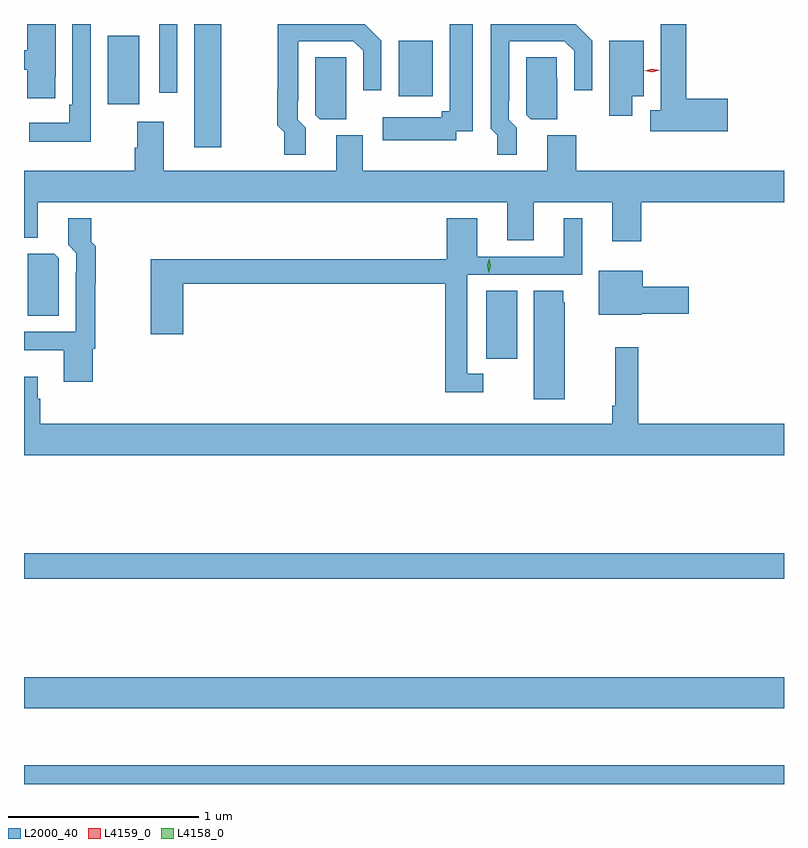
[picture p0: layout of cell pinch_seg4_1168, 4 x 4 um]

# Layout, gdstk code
import gdstk
lib = gdstk.Library(unit=1e-6, precision=1e-09)
def R(c, l, rs):  # rectangles x0, y0, x1, y1
    for r in rs: c.add(gdstk.rectangle(r[:2], r[2:], *l))
def P(c, l, *ps):  # polygons
    for p in ps: c.add(gdstk.Polygon(p, *l))
L2000_40 = (2000, 40)
L4158_0 = (4158, 0)
L4159_0 = (4159, 0)

pinch_seg4_1168 = lib.new_cell('pinch_seg4_1168')
R(pinch_seg4_1168, L2000_40, [(424.638,781.769,428.638,781.867), (424.638,782.168,428.638,782.332), (424.638,782.848,428.638,782.984), (427.07,784.008,427.234,784.364), (425.534,785.121,425.676,785.769), (425.078,785.346,425.245,785.708), (426.611,785.39,426.79,785.68), (425.349,785.406,425.445,785.769)])
P(pinch_seg4_1168, L2000_40, [(424.989,785.769),(424.893,785.769),(424.893,785.344),(424.877,785.344),(424.877,785.248),(424.665,785.248),(424.665,785.15),(424.989,785.15)],
  [(424.803,785.491),(424.804,785.491),(424.804,785.769),(424.655,785.769),(424.655,785.631),(424.638,785.631),(424.638,785.527),(424.655,785.527),(424.655,785.379),(424.803,785.379)],
  [(426.121,785.222),(426.078,785.265),(426.078,785.365),(426.081,785.365),(426.081,785.679),(426.372,785.679),(426.423,785.628),(426.423,785.421),(426.519,785.421),(426.519,785.682),(426.432,785.769),(425.973,785.769),(425.973,785.426),(425.97,785.426),(425.97,785.236),(426.009,785.198),(426.009,785.082),(426.121,785.082)],
  [(428.341,785.375),(428.123,785.375),(428.123,785.769),(427.988,785.769),(427.988,785.314),(427.935,785.314),(427.935,785.205),(428.341,785.205)],
  [(426.913,785.205),(427,785.205),(427,785.769),(426.878,785.769),(426.878,785.309),(426.837,785.309),(426.837,785.278),(426.525,785.278),(426.525,785.156),(426.913,785.156)],
  [(427.231,785.222),(427.188,785.265),(427.188,785.365),(427.191,785.365),(427.191,785.679),(427.482,785.679),(427.533,785.628),(427.533,785.421),(427.629,785.421),(427.629,785.682),(427.542,785.769),(427.095,785.769),(427.095,785.219),(427.13,785.184),(427.13,785.082),(427.231,785.082)],
  [(427.84,785.39),(427.9,785.39),(427.9,785.68),(427.718,785.68),(427.718,785.286),(427.84,785.286)],
  [(426.334,785.483),(426.333,785.483),(426.333,785.594),(426.171,785.594),(426.171,785.292),(426.195,785.269),(426.334,785.269)],
  [(427.444,785.483),(427.443,785.483),(427.443,785.594),(427.281,785.594),(427.281,785.292),(427.305,785.269),(427.444,785.269)],
  [(427.544,785.184),(427.391,785.184),(427.391,784.996),(426.421,784.996),(426.421,785.184),(426.281,785.184),(426.281,784.996),(425.374,784.996),(425.374,785.254),(425.234,785.254),(425.234,785.117),(425.222,785.117),(425.222,784.996),(424.638,784.996),(424.638,784.645),(424.711,784.645),(424.711,784.832),(427.181,784.832),(427.181,784.63),(427.321,784.63),(427.321,784.832),(427.733,784.832),(427.733,784.626),(427.886,784.626),(427.886,784.832),(428.638,784.832),(428.638,784.996),(427.544,784.996)],
  [(425,784.059),(425.012,784.059),(425.012,784.402),(425.015,784.402),(425.015,784.599),(424.991,784.623),(424.991,784.747),(424.871,784.747),(424.871,784.606),(424.914,784.563),(424.914,784.463),(424.911,784.463),(424.911,784.149),(424.638,784.149),(424.638,784.052),(424.847,784.052),(424.847,783.885),(425,783.885)],
  [(427.054,783.927),(426.972,783.927),(426.972,784.449),(427.576,784.449),(427.576,784.747),(427.478,784.747),(427.478,784.545),(427.024,784.545),(427.024,784.747),(426.863,784.747),(426.863,784.531),(425.306,784.531),(425.306,784.137),(425.477,784.137),(425.477,784.402),(426.856,784.402),(426.856,783.83),(427.054,783.83)],
  [(424.821,784.536),(424.797,784.56),(424.658,784.56),(424.658,784.345),(424.659,784.345),(424.659,784.234),(424.821,784.234)],
  [(427.89,784.244),(428.137,784.244),(428.137,784.386),(427.894,784.386),(427.894,784.471),(427.664,784.471),(427.664,784.238),(427.89,784.238)],
  [(427.483,784.305),(427.477,784.305),(427.477,784.364),(427.322,784.364),(427.322,783.795),(427.483,783.795)],
  [(428.638,783.664),(427.871,783.664),(427.871,784.069),(427.75,784.069),(427.75,783.76),(427.735,783.76),(427.735,783.664),(424.724,783.664),(424.724,783.797),(424.711,783.797),(424.711,783.913),(424.638,783.913),(424.638,783.5),(428.638,783.5)])
P(pinch_seg4_1168, L4158_0, [(427.083,784.461),(427.083,784.461),(427.075,784.498),(427.086,784.533),(427.086,784.534),(427.087,784.533),(427.095,784.497),(427.083,784.461)])
P(pinch_seg4_1168, L4159_0, [(427.945,785.514),(427.904,785.523),(427.904,785.523),(427.904,785.523),(427.945,785.534),(427.985,785.525),(427.985,785.525),(427.985,785.525)])

lib.write_gds('pinch_seg4_1168.gds')
